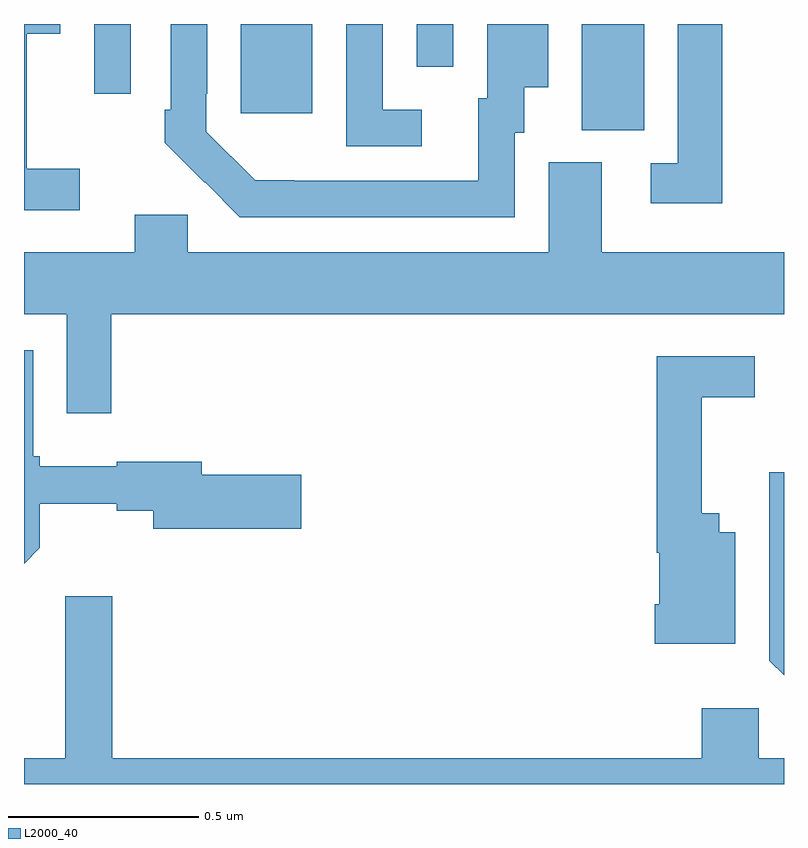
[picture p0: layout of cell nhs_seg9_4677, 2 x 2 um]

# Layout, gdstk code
import gdstk
lib = gdstk.Library(unit=1e-6, precision=1e-09)
def R(c, l, rs):  # rectangles x0, y0, x1, y1
    for r in rs: c.add(gdstk.rectangle(r[:2], r[2:], *l))
def P(c, l, *ps):  # polygons
    for p in ps: c.add(gdstk.Polygon(p, *l))
L2000_40 = (2000, 40)

nhs_seg9_4677 = lib.new_cell('nhs_seg9_4677')
R(nhs_seg9_4677, L2000_40, [(170.468,1214.221,170.632,1214.5), (169.571,1214.265,169.759,1214.5), (169.185,1214.316,169.281,1214.5), (170.034,1214.388,170.13,1214.5)])
P(nhs_seg9_4677, L2000_40, [(170.292,1214.214),(170.317,1214.214),(170.317,1214.333),(170.38,1214.333),(170.38,1214.5),(170.219,1214.5),(170.219,1214.304),(170.195,1214.304),(170.195,1214.088),(169.711,1214.088),(169.711,1214.089),(169.608,1214.089),(169.479,1214.217),(169.479,1214.317),(169.482,1214.317),(169.482,1214.5),(169.386,1214.5),(169.386,1214.275),(169.371,1214.275),(169.371,1214.187),(169.476,1214.082),(169.477,1214.083),(169.568,1213.992),(170.292,1213.992)],
  [(170.047,1214.274),(169.944,1214.274),(169.944,1214.5),(169.848,1214.5),(169.848,1214.178),(170.047,1214.178)],
  [(170.837,1214.5),(170.721,1214.5),(170.721,1214.133),(170.649,1214.133),(170.649,1214.028),(170.837,1214.028)],
  [(169.147,1214.119),(169.007,1214.119),(169.007,1214.474),(169.096,1214.474),(169.096,1214.5),(169,1214.5),(169,1214.01),(169.147,1214.01)],
  [(169.229,1213.736),(171,1213.736),(171,1213.9),(170.521,1213.9),(170.521,1214.136),(170.381,1214.136),(170.381,1213.9),(169.431,1213.9),(169.431,1213.998),(169.292,1213.998),(169.292,1213.9),(169,1213.9),(169,1213.736),(169.113,1213.736),(169.113,1213.476),(169.229,1213.476)],
  [(169.042,1213.122),(169.042,1213.237),(169.244,1213.237),(169.244,1213.219),(169.34,1213.219),(169.34,1213.172),(169.729,1213.172),(169.729,1213.314),(169.468,1213.314),(169.468,1213.348),(169.244,1213.348),(169.244,1213.336),(169.042,1213.336),(169.042,1213.362),(169.024,1213.362),(169.024,1213.642),(169,1213.642),(169,1213.08)],
  [(170.872,1213.162),(170.83,1213.162),(170.83,1213.213),(170.783,1213.213),(170.783,1213.518),(170.923,1213.518),(170.923,1213.626),(170.665,1213.626),(170.665,1213.109),(170.672,1213.109),(170.672,1212.973),(170.66,1212.973),(170.66,1212.869),(170.872,1212.869)],
  [(171,1213.321),(170.961,1213.321),(170.961,1212.825),(171,1212.786)],
  [(171,1212.568),(170.934,1212.568),(170.934,1212.7),(170.783,1212.7),(170.783,1212.568),(169.232,1212.568),(169.232,1212.994),(169.109,1212.994),(169.109,1212.568),(169,1212.568),(169,1212.5),(171,1212.5)])

lib.write_gds('nhs_seg9_4677.gds')
